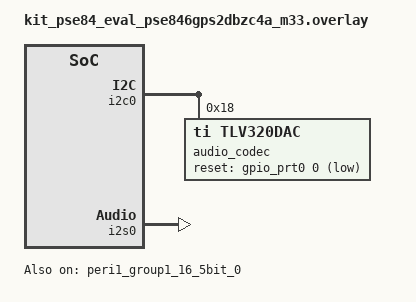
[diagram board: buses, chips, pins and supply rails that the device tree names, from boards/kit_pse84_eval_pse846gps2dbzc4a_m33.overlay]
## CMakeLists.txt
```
# SPDX-License-Identifier: Apache-2.0

cmake_minimum_required(VERSION 3.28.0)
find_package(Zephyr REQUIRED HINTS $ENV{ZEPHYR_BASE})
project(tmap_peripheral)

target_sources(app PRIVATE
  src/main.c
  src/vcp_vol_renderer.c
  src/bap_unicast_sr.c
  src/ccp_call_ctrl.c
  src/mcp_ctlr.c
)

add_subdirectory(${ZEPHYR_BASE}/samples/bluetooth/audio/common
                 ${CMAKE_BINARY_DIR}/bt_audio_common)

target_sources_ifdef(CONFIG_TMAP_PERIPHERAL_DUO app PRIVATE
  src/csip_set_member.c
)

zephyr_library_include_directories(${ZEPHYR_BASE}/samples/bluetooth)
```

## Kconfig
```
#
# Copyright (c) 2022 Codecoup
# Copyright 2023 NXP
#
# SPDX-License-Identifier: Apache-2.0
#

mainmenu "Bluetooth: Earbuds"

menu "Zephyr"
source "Kconfig.zephyr"
endmenu

menu "Earbuds"

config TMAP_PERIPHERAL_SET_RANK
	int "Device rank in set"
	depends on TMAP_PERIPHERAL_DUO
	range 1 2
	help
	  Rank of this device in set.

choice TMAP_PERIPHERAL_TYPE_CHOICE
	prompt "Earbuds type"
	help
	  Select the Earbuds Type to compile.

config TMAP_PERIPHERAL_SINGLE
	bool "Single ear headset"

config TMAP_PERIPHERAL_DUO
	depends on BT_CAP_ACCEPTOR_SET_MEMBER
	bool "Duo headset"

endchoice # TMAP_PERIPHERAL_TYPE_CHOICE

choice TMAP_PERIPHERAL_LOCATION
	prompt "Earbud Location"
	help
	  Select the Earbud location.

config TMAP_PERIPHERAL_LEFT
	bool "Left Ear"

config TMAP_PERIPHERAL_RIGHT
	bool "Right Ear"

config TMAP_PERIPHERAL_STEREO
	bool "Stereo speaker (front left + front right)"
	help
	  Advertise the sink and source PAC locations as a stereo speaker.
	  Required by some phones (e.g. Pixel running Android) before they
	  will route stereo media to a solo LE Audio device.

endchoice # TMAP_PERIPHERAL_LOCATION

config TMAP_PERIPHERAL_ROLE_CT
	bool "TMAP Call Terminal (CT) role"
	default y
	help
	  Advertise the TMAP Call Terminal role. Compiles in and
	  initializes the CCP client used to interact with a peer Call
	  Gateway (typically a phone). Disable to build a media-only
	  peripheral that does not participate in call control.

config TMAP_PERIPHERAL_ROLE_UMR
	bool "TMAP Unicast Media Receiver (UMR) role"
	default y
	help
	  Advertise the TMAP Unicast Media Receiver role. Compiles in and
	  initializes the MCP client on top of the BAP unicast sink to
	  interact with a peer Unicast Media Sender. Disabling drops the MCP
	  client and stops advertising the UMR role; the BAP unicast sink is
	  always built, so the peripheral still accepts a sink stream and plays
	  received media but no longer drives media control.

rsource "../common/Kconfig"

endmenu
```

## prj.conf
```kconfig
CONFIG_BT=y
CONFIG_LOG=y
CONFIG_BT_PERIPHERAL=y
CONFIG_BT_GAP_AUTO_UPDATE_CONN_PARAMS=n
# Set preferred values based on BT_BAP_CONN_PARAM_RELAXED
CONFIG_BT_PERIPHERAL_PREF_MIN_INT=50
CONFIG_BT_PERIPHERAL_PREF_MAX_INT=70
CONFIG_BT_PERIPHERAL_PREF_LATENCY=0
CONFIG_BT_PERIPHERAL_PREF_TIMEOUT=400
CONFIG_BT_ISO_PERIPHERAL=y
CONFIG_BT_GATT_CLIENT=y
CONFIG_BT_GATT_AUTO_DISCOVER_CCC=y
CONFIG_BT_PRIVACY=y
CONFIG_BT_AUDIO=y
CONFIG_UTF8=y

CONFIG_BT_SMP=y
CONFIG_BT_KEYS_OVERWRITE_OLDEST=y
CONFIG_BT_ATT_TX_COUNT=20

# TMAP support
CONFIG_BT_TMAP=y

# CAP
CONFIG_BT_CAP_ACCEPTOR=y

# BAP support
CONFIG_BT_BAP_UNICAST_SERVER=y
# Mandatory to support at least 1 for ASCS
CONFIG_BT_ATT_PREPARE_COUNT=1

# VCP support
CONFIG_BT_VCP_VOL_REND=y

# MCP support
CONFIG_BT_MCC=y

# Support an ISO channel per ASE
CONFIG_BT_ASCS=y
CONFIG_BT_PAC_SNK=y
CONFIG_BT_ASCS_MAX_ASE_SNK_COUNT=1
CONFIG_BT_PAC_SRC=y
CONFIG_BT_ASCS_MAX_ASE_SRC_COUNT=1
# Support an ISO channel per ASE
CONFIG_BT_ISO_MAX_CHAN=2

# Sink PAC Location Support
CONFIG_BT_PAC_SNK_LOC=y
# Source PAC Location Support
CONFIG_BT_PAC_SRC_LOC=y

# CCP Call Control Client Support
CONFIG_BT_TBS_CLIENT_GTBS=y
CONFIG_BT_TBS_CLIENT_ORIGINATE_CALL=y
CONFIG_BT_TBS_CLIENT_TERMINATE_CALL=y
CONFIG_BT_TBS_CLIENT_BEARER_URI_SCHEMES_SUPPORTED_LIST=y

# Generic config
CONFIG_BT_GATT_DYNAMIC_DB=y
CONFIG_BT_GATT_CLIENT=y
CONFIG_BT_EXT_ADV=y
CONFIG_BT_DEVICE_NAME="TMAP Peripheral"

# Receiving the LE Audio unicast stream (LC3 SDUs at 100 Hz / 10 ms) plus CIS
# open/close needs more ISO RX headroom than the Kconfig default; otherwise the
# H:4 driver keeps deferring packets to bt_rx_thread ("Failed to allocate,
# deferring to rx_thread"). This sizes the RX audio path, so it only matters for
# the LE Audio (LC3) sink use case this sample targets.
CONFIG_BT_ISO_RX_BUF_COUNT=12
CONFIG_BT_ISO_RX_MTU=310

# The ASE codec configuration metadata buffer must hold what real-world sources
# (e.g. Android LE Audio) send: streaming context + CCID list, which the stack
# default of 4 rejects with -ENOMEM. The codec capability metadata is our own
# (preferred contexts only) and fits the default.
CONFIG_BT_AUDIO_CODEC_CFG_MAX_METADATA_SIZE=32
```

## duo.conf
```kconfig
CONFIG_BT_CSIP_SET_MEMBER=y
CONFIG_BT_CSIP_SET_MEMBER_SIZE_SUPPORT=y
CONFIG_BT_CSIP_SET_MEMBER_LOCK_SUPPORT=y
CONFIG_BT_CSIP_SET_MEMBER_RANK_SUPPORT=y
CONFIG_TMAP_PERIPHERAL_DUO=y
CONFIG_BT_CAP_ACCEPTOR_SET_MEMBER=y
CONFIG_BT_GATT_DYNAMIC_DB=y
```

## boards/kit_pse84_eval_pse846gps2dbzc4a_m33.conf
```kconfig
# SPDX-FileCopyrightText: Copyright (c) 2026 Infineon Technologies AG,
# SPDX-FileCopyrightText: or an affiliate of Infineon Technologies AG. All rights reserved.
#
# SPDX-License-Identifier: Apache-2.0

CONFIG_LIBLC3=y
CONFIG_I2S=y
CONFIG_AUDIO=y
CONFIG_AUDIO_CODEC=y

CONFIG_SAMPLE_BT_AUDIO_PLAYBACK_MCLK_FREQUENCY=12288000
CONFIG_SAMPLE_BT_AUDIO_PLAYBACK_CODEC_VOL_MIN=-127
CONFIG_SAMPLE_BT_AUDIO_PLAYBACK_CODEC_VOL_MAX=0

CONFIG_TMAP_PERIPHERAL_STEREO=y
CONFIG_TMAP_PERIPHERAL_ROLE_CT=n
CONFIG_TMAP_PERIPHERAL_AUTO_CTRL=n
CONFIG_BT_RX_STACK_SIZE=4096
```

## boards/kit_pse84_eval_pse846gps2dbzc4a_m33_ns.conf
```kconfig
# SPDX-FileCopyrightText: Copyright (c) 2026 Infineon Technologies AG,
# SPDX-FileCopyrightText: or an affiliate of Infineon Technologies AG. All rights reserved.
#
# SPDX-License-Identifier: Apache-2.0

CONFIG_SPEED_OPTIMIZATIONS=y
CONFIG_LIBLC3=y
CONFIG_I2S=y
CONFIG_AUDIO=y
CONFIG_AUDIO_CODEC=y

CONFIG_SAMPLE_BT_AUDIO_PLAYBACK_MCLK_FREQUENCY=12288000
CONFIG_SAMPLE_BT_AUDIO_PLAYBACK_CODEC_VOL_MIN=-127
CONFIG_SAMPLE_BT_AUDIO_PLAYBACK_CODEC_VOL_MAX=0

CONFIG_TMAP_PERIPHERAL_STEREO=y
CONFIG_TMAP_PERIPHERAL_ROLE_CT=n
CONFIG_TMAP_PERIPHERAL_AUTO_CTRL=n
CONFIG_BT_ISO_RX_MTU=310
CONFIG_BT_RX_STACK_SIZE=4096
```

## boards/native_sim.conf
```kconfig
CONFIG_LOG_MODE_IMMEDIATE=y

CONFIG_LIBLC3=y
CONFIG_FPU=y

# For LE-audio at 10ms intervals we need the tick counter to occur more frequently
# than every 10 ms as each PDU for some reason takes 2 ticks to process.
CONFIG_SYS_CLOCK_TICKS_PER_SEC=1000
CONFIG_NATIVE_SIM_SLOWDOWN_TO_REAL_TIME=y
```

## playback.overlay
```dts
/*
 * SPDX-FileCopyrightText: Copyright The Zephyr Project Contributors
 * SPDX-License-Identifier: Apache-2.0
 *
 * Build-only wiring for native_sim: point the i2s-codec-tx alias at the
 * board's emulated I2S TX controller so the real LC3 -> I2S playback path in
 * common/audio_playback.c is compile-checked by CI. This scenario is build_only,
 * so CI builds the playback path but does not execute it. native_sim already
 * provides the audio_codec (zephyr,dummy-codec) node the helper looks up by label.
 */

/ {
	aliases {
		i2s-codec-tx = &i2s_tx0;
	};
};
```

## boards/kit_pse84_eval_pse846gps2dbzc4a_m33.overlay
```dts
/*
 * SPDX-FileCopyrightText: Copyright (c) 2026 Infineon Technologies AG,
 * SPDX-FileCopyrightText: or an affiliate of Infineon Technologies AG. All rights reserved.
 *
 * SPDX-License-Identifier: Apache-2.0
 */

/ {
	aliases {
		i2s-codec-tx = &i2s0;
	};
};

&i2c0 {
	audio_codec: codec@18 {
		compatible = "ti,tlv320dac";
		reg = <0x18>;
		reset-gpios = <&gpio_prt0 0 GPIO_ACTIVE_LOW>;
		speaker-gain = <6>;
	};
};

&peri1_group1_16_5bit_0 {
	clock-div = <2>;
	div-frac-value = <0>;
	status = "okay";
};

&dma0 {
	interrupts = <82 2>, <83 4>, <84 4>, <85 4>,
		     <86 4>, <87 4>, <88 4>, <89 4>,
		     <90 4>, <91 4>, <92 4>, <93 4>,
		     <94 4>, <95 4>, <96 4>, <97 4>;
	status = "okay";
};

&i2s0 {
	interrupts = <158 4>, <159 2>;
	pinctrl-0 = <&p21_3_tdm_i2s0_tx_mck &p21_2_tdm_i2s0_tx_sck
		     &p21_1_tdm_i2s0_tx_sd &p12_3_tdm_i2s0_tx_fsync>;
	pinctrl-names = "default";
	dmas = <&dma0 0>, <&dma0 1>;
	dma-names = "tx", "rx";
	clocks = <&peri1_group1_16_5bit_0>;
	status = "okay";
};

&p12_3_tdm_i2s0_tx_fsync {
	drive-push-pull;
	drive-strength = "half";
};

&p21_1_tdm_i2s0_tx_sd {
	drive-push-pull;
	drive-strength = "half";
};

&p21_2_tdm_i2s0_tx_sck {
	drive-push-pull;
	drive-strength = "half";
};

&p21_3_tdm_i2s0_tx_mck {
	drive-push-pull;
	drive-strength = "half";
};

&bt_hci_uart {
	cyw55513 {
		hci-operation-speed = <3000000>;
	};
};
```

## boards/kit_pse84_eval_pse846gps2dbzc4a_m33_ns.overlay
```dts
/*
 * SPDX-FileCopyrightText: Copyright (c) 2026 Infineon Technologies AG,
 * SPDX-FileCopyrightText: or an affiliate of Infineon Technologies AG. All rights reserved.
 *
 * SPDX-License-Identifier: Apache-2.0
 */

/ {
	aliases {
		i2s-codec-tx = &i2s0;
	};
};

&i2c0 {
	audio_codec: codec@18 {
		compatible = "ti,tlv320dac";
		reg = <0x18>;
		reset-gpios = <&gpio_prt8 2 GPIO_ACTIVE_HIGH>;
		speaker-gain = <6>;
	};
};

&peri1_group1_16_5bit_0 {
	clock-div = <2>;
	div-frac-value = <0>;
	status = "okay";
};

&dma0 {
	interrupts = <82 2>, <83 4>, <84 4>, <85 4>,
		     <86 4>, <87 4>, <88 4>, <89 4>,
		     <90 4>, <91 4>, <92 4>, <93 4>,
		     <94 4>, <95 4>, <96 4>, <97 4>;
	status = "okay";
};

&i2s0 {
	interrupts = <158 4>, <159 2>;
	pinctrl-0 = <&p21_3_tdm_i2s0_tx_mck &p21_2_tdm_i2s0_tx_sck
		     &p21_1_tdm_i2s0_tx_sd &p12_3_tdm_i2s0_tx_fsync>;
	pinctrl-names = "default";
	dmas = <&dma0 0>, <&dma0 1>;
	dma-names = "tx", "rx";
	clocks = <&peri1_group1_16_5bit_0>;
	status = "okay";
};

&p12_3_tdm_i2s0_tx_fsync {
	drive-push-pull;
	drive-strength = "half";
};

&p21_1_tdm_i2s0_tx_sd {
	drive-push-pull;
	drive-strength = "half";
};

&p21_2_tdm_i2s0_tx_sck {
	drive-push-pull;
	drive-strength = "half";
};

&p21_3_tdm_i2s0_tx_mck {
	drive-push-pull;
	drive-strength = "half";
};

&bt_hci_uart {
	cyw55513 {
		hci-operation-speed = <3000000>;
	};
};
```

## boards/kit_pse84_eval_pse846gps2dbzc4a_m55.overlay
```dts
/*
 * SPDX-FileCopyrightText: Copyright (c) 2026 Infineon Technologies AG,
 * SPDX-FileCopyrightText: or an affiliate of Infineon Technologies AG. All rights reserved.
 *
 * SPDX-License-Identifier: Apache-2.0
 */

/ {
	aliases {
		i2s-codec-tx = &i2s0;
	};
};

&i2c0 {
	audio_codec: codec@18 {
		compatible = "ti,tlv320dac";
		reg = <0x18>;
		reset-gpios = <&gpio_prt8 2 GPIO_ACTIVE_HIGH>;
		speaker-gain = <6>;
	};
};

&peri1_group1_16_5bit_0 {
	clock-div = <2>;
	div-frac-value = <0>;
	status = "okay";
};

&dma0 {
	interrupts = <60 2>, <61 4>, <62 4>, <63 4>,
		     <64 4>, <65 4>, <66 4>, <67 4>,
		     <68 4>, <69 4>, <70 4>, <71 4>,
		     <72 4>, <73 4>, <74 4>, <75 4>;
	status = "okay";
};

&i2s0 {
	interrupts = <135 4>, <136 2>;
	pinctrl-0 = <&p21_3_tdm_i2s0_tx_mck &p21_2_tdm_i2s0_tx_sck
		     &p21_1_tdm_i2s0_tx_sd &p12_3_tdm_i2s0_tx_fsync>;
	pinctrl-names = "default";
	dmas = <&dma0 0>, <&dma0 1>;
	dma-names = "tx", "rx";
	clocks = <&peri1_group1_16_5bit_0>;
	status = "okay";
};

&p12_3_tdm_i2s0_tx_fsync {
	drive-push-pull;
	drive-strength = "half";
};

&p21_1_tdm_i2s0_tx_sd {
	drive-push-pull;
	drive-strength = "half";
};

&p21_2_tdm_i2s0_tx_sck {
	drive-push-pull;
	drive-strength = "half";
};

&p21_3_tdm_i2s0_tx_mck {
	drive-push-pull;
	drive-strength = "half";
};

&bt_hci_uart {
	cyw55513 {
		hci-operation-speed = <3000000>;
	};
};
```

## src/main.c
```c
/*
 * Copyright 2023 NXP
 * Copyright (c) 2024 Nordic Semiconductor ASA
 *
 * SPDX-License-Identifier: Apache-2.0
 */

#include <stdbool.h>
#include <stddef.h>
#include <stdint.h>

#include <zephyr/autoconf.h>
#include <zephyr/bluetooth/addr.h>
#include <zephyr/bluetooth/assigned_numbers.h>
#include <zephyr/bluetooth/audio/audio.h>
#include <zephyr/bluetooth/audio/bap.h>
#include <zephyr/bluetooth/audio/bap_lc3_preset.h>
#include <zephyr/bluetooth/audio/csip.h>
#include <zephyr/bluetooth/audio/tmap.h>
#include <zephyr/bluetooth/audio/cap.h>
#include <zephyr/bluetooth/audio/mcs.h>
#include <zephyr/bluetooth/bluetooth.h>
#include <zephyr/bluetooth/byteorder.h>
#include <zephyr/bluetooth/conn.h>
#include <zephyr/bluetooth/gap.h>
#include <zephyr/bluetooth/hci.h>
#include <zephyr/bluetooth/uuid.h>
#include <zephyr/kernel.h>
#include <zephyr/sys/__assert.h>
#include <zephyr/sys/byteorder.h>
#include <zephyr/sys/printk.h>
#include <zephyr/sys/util.h>
#include <zephyr/sys/util_macro.h>
#include <zephyr/toolchain.h>
#include <zephyr/types.h>

#include <audio_playback.h>
#include "tmap_peripheral.h"

/* Advertised and registered TMAP role mask derived from Kconfig. */
#define TMAP_PERIPHERAL_ROLE_MASK ( \
	(IS_ENABLED(CONFIG_TMAP_PERIPHERAL_ROLE_CT)  ? BT_TMAP_ROLE_CT  : 0) | \
	(IS_ENABLED(CONFIG_TMAP_PERIPHERAL_ROLE_UMR) ? BT_TMAP_ROLE_UMR : 0))

BUILD_ASSERT(TMAP_PERIPHERAL_ROLE_MASK != 0,
	     "At least one of CONFIG_TMAP_PERIPHERAL_ROLE_CT / _ROLE_UMR must be set");

static struct bt_conn *default_conn;
static struct k_work_delayable call_terminate_set_work;
static struct k_work_delayable media_pause_set_work;

static uint8_t unicast_server_addata[] = {
	BT_UUID_16_ENCODE(BT_UUID_ASCS_VAL),    /* ASCS UUID */
	BT_AUDIO_UNICAST_ANNOUNCEMENT_TARGETED, /* Target Announcement */
	BT_BYTES_LIST_LE16(AVAILABLE_SINK_CONTEXT),
	BT_BYTES_LIST_LE16(AVAILABLE_SOURCE_CONTEXT),
	0x00U, /* Metadata length */
};

static const uint8_t cap_addata[] = {
	BT_UUID_16_ENCODE(BT_UUID_CAS_VAL),
	BT_AUDIO_UNICAST_ANNOUNCEMENT_TARGETED,
};

static uint8_t tmap_addata[] = {
	BT_UUID_16_ENCODE(BT_UUID_TMAS_VAL),                    /* TMAS UUID */
	BT_BYTES_LIST_LE16(TMAP_PERIPHERAL_ROLE_MASK),          /* TMAP Role */
};

static uint8_t csis_rsi_addata[BT_CSIP_RSI_SIZE];
static bool peer_is_cg;
static bool peer_is_ums;

static const struct bt_data ad[] = {
	BT_DATA_BYTES(BT_DATA_FLAGS, (BT_LE_AD_GENERAL | BT_LE_AD_NO_BREDR)),
	BT_DATA_BYTES(BT_DATA_GAP_APPEARANCE,
		      BT_BYTES_LIST_LE16(BT_APPEARANCE_WEARABLE_AUDIO_DEVICE_EARBUD)),
	BT_DATA_BYTES(BT_DATA_UUID16_SOME, BT_UUID_16_ENCODE(BT_UUID_ASCS_VAL),
		      BT_UUID_16_ENCODE(BT_UUID_CAS_VAL), BT_UUID_16_ENCODE(BT_UUID_TMAS_VAL)),
#if defined(CONFIG_BT_CSIP_SET_MEMBER)
	BT_DATA(BT_DATA_CSIS_RSI, csis_rsi_addata, ARRAY_SIZE(csis_rsi_addata)),
#endif /* CONFIG_BT_CSIP_SET_MEMBER */
	BT_DATA(BT_DATA_SVC_DATA16, tmap_addata, ARRAY_SIZE(tmap_addata)),
	BT_DATA(BT_DATA_SVC_DATA16, cap_addata, ARRAY_SIZE(cap_addata)),
	BT_DATA(BT_DATA_SVC_DATA16, unicast_server_addata, ARRAY_SIZE(unicast_server_addata)),
	BT_DATA(BT_DATA_NAME_COMPLETE, CONFIG_BT_DEVICE_NAME, sizeof(CONFIG_BT_DEVICE_NAME) - 1),
};

static K_SEM_DEFINE(sem_connected, 0U, 1U);
static K_SEM_DEFINE(sem_security_updated, 0U, 1U);
static K_SEM_DEFINE(sem_disconnected, 0U, 1U);
static K_SEM_DEFINE(sem_discovery_done, 0U, 1U);

void tmap_discovery_complete(enum bt_tmap_role peer_role, struct bt_conn *conn, int err)
{
	if (conn != default_conn) {
		return;
	}

	if (err != 0) {
		printk("TMAS discovery failed! (err %d)\n", err);
		return;
	}

	peer_is_cg = (peer_role & BT_TMAP_ROLE_CG) != 0;
	peer_is_ums = (peer_role & BT_TMAP_ROLE_UMS) != 0;
	printk("TMAP discovery done\n");
	k_sem_give(&sem_discovery_done);
}

static struct bt_tmap_cb tmap_callbacks = {
	.discovery_complete = tmap_discovery_complete
};

static void connected(struct bt_conn *conn, uint8_t err)
{
	if (err != 0) {
		printk("Failed to connect to %s %u %s\n", bt_conn_dst_str(conn),
		       err, bt_hci_err_to_str(err));

		default_conn = NULL;
		return;
	}

	printk("Connected: %s\n", bt_conn_dst_str(conn));
	default_conn = bt_conn_ref(conn);
	k_sem_give(&sem_connected);
}

static void disconnected(struct bt_conn *conn, uint8_t reason)
{
	if (conn != default_conn) {
		return;
	}

	printk("Disconnected: %s, reason 0x%02x %s\n", bt_conn_dst_str(conn),
	       reason, bt_hci_err_to_str(reason));

	bt_conn_drop(&default_conn);

	k_sem_give(&sem_disconnected);
}

static void security_changed(struct bt_conn *conn, bt_security_t level,
			     enum bt_security_err err)
{
	ARG_UNUSED(conn);
	ARG_UNUSED(level);

	if (err == 0) {
		printk("Security changed: %u\n", err);
		k_sem_give(&sem_security_updated);
	} else {
		printk("Failed to set security level: %s(%u)", bt_security_err_to_str(err), err);
	}
}

BT_CONN_CB_DEFINE(conn_callbacks) = {
	.connected = connected,
	.disconnected = disconnected,
	.security_changed = security_changed,
};

#if defined(CONFIG_BT_PRIVACY) && defined(CONFIG_BT_CSIP_SET_MEMBER)
static bool adv_rpa_expired_cb(struct bt_le_ext_adv *adv)
{
	char rsi_str[13];
	int err;

	err = csip_generate_rsi(csis_rsi_addata);
	if (err != 0) {
		printk("Failed to generate RSI (err %d)\n", err);
		return false;
	}

	snprintk(rsi_str, ARRAY_SIZE(rsi_str), "%02x%02x%02x%02x%02x%02x",
		 csis_rsi_addata[0], csis_rsi_addata[1], csis_rsi_addata[2],
		 csis_rsi_addata[3], csis_rsi_addata[4], csis_rsi_addata[5]);

	printk("PRSI: 0x%s\n", rsi_str);

	err = bt_le_ext_adv_set_data(adv, ad, ARRAY_SIZE(ad), NULL, 0);
	if (err != 0) {
		printk("Failed to set advertising data (err %d)\n", err);
		return false;
	}

	return true;
}
#endif /* CONFIG_BT_PRIVACY && CONFIG_BT_CSIP_SET_MEMBER */

static const struct bt_le_ext_adv_cb adv_cb = {
#if defined(CONFIG_BT_PRIVACY) && defined(CONFIG_BT_CSIP_SET_MEMBER)
	.rpa_expired = adv_rpa_expired_cb,
#endif /* CONFIG_BT_PRIVACY && CONFIG_BT_CSIP_SET_MEMBER */
};

static void audio_timer_timeout(struct k_work *work)
{
	int err = ccp_terminate_call();

	ARG_UNUSED(work);

	if (err != 0) {
		printk("Error sending call terminate command!\n");
	}
}

static void media_play_timeout(struct k_work *work)
{
	int err = mcp_send_cmd(BT_MCS_OPC_PAUSE);

	ARG_UNUSED(work);

	if (err != 0) {
		printk("Error sending pause command!\n");
	}
}

int main(void)
{
	int err;
	struct bt_le_ext_adv *adv;

	err = bt_enable(NULL);
	if (err != 0) {
		printk("Bluetooth init failed (err %d)\n", err);
		return err;
	}

	printk("Bluetooth initialized\n");

	if (IS_ENABLED(CONFIG_TMAP_PERIPHERAL_ROLE_CT)) {
		k_work_init_delayable(&call_terminate_set_work, audio_timer_timeout);
	}
	if (IS_ENABLED(CONFIG_TMAP_PERIPHERAL_ROLE_UMR)) {
		k_work_init_delayable(&media_pause_set_work, media_play_timeout);
	}

	printk("Initializing TMAP and setting role\n");
	err = bt_tmap_register(TMAP_PERIPHERAL_ROLE_MASK);
	if (err != 0) {
		return err;
	}

	if (IS_ENABLED(CONFIG_TMAP_PERIPHERAL_DUO)) {
		err = csip_set_member_init();
		if (err != 0) {
			printk("CSIP Set Member init failed (err %d)\n", err);
			return err;
		}

		err = csip_generate_rsi(csis_rsi_addata);
		if (err != 0) {
			printk("Failed to generate RSI (err %d)\n", err);
			return err;
		}
	}

	err = vcp_vol_renderer_init();
	if (err != 0) {
		return err;
	}
	printk("VCP initialized\n");

	err = bap_unicast_sr_init();
	if (err != 0) {
		return err;
	}
	printk("BAP initialized\n");

	if (IS_ENABLED(CONFIG_SAMPLE_BT_AUDIO_PLAYBACK)) {
		err = sample_bt_audio_playback_init();
		if (err != 0) {
			printk("LE Audio playback init failed (err %d)\n", err);
			return err;
		}
		printk("LE Audio playback initialized\n");
	}

	err = bt_le_ext_adv_create(BT_BAP_ADV_PARAM_CONN_QUICK, &adv_cb, &adv);
	if (err != 0) {
		printk("Failed to create advertising set (err %d)\n", err);
		return err;
	}

	err = bt_le_ext_adv_set_data(adv, ad, ARRAY_SIZE(ad), NULL, 0);
	if (err != 0) {
		printk("Failed to set advertising data (err %d)\n", err);
		return err;
	}

	err = bt_le_ext_adv_start(adv, BT_LE_EXT_ADV_START_DEFAULT);
	if (err != 0) {
		printk("Failed to start advertising set (err %d)\n", err);
		return err;
	}

	printk("Advertising successfully started\n");
	err = k_sem_take(&sem_connected, K_FOREVER);
	__ASSERT_NO_MSG(err == 0);

	err = k_sem_take(&sem_security_updated, K_FOREVER);
	__ASSERT_NO_MSG(err == 0);

	err = bt_tmap_discover(default_conn, &tmap_callbacks);
	if (err != 0) {
		return err;
	}

	err = k_sem_take(&sem_discovery_done, K_FOREVER);
	__ASSERT_NO_MSG(err == 0);

	if (IS_ENABLED(CONFIG_TMAP_PERIPHERAL_ROLE_CT)) {
		err = ccp_call_ctrl_init(default_conn);
		if (err != 0) {
			return err;
		}
		printk("CCP initialized\n");
	}

	if (IS_ENABLED(CONFIG_TMAP_PERIPHERAL_ROLE_UMR)) {
		err = mcp_ctlr_init(default_conn);
		if (err != 0) {
			return err;
		}
		printk("MCP initialized\n");
	}

	if (IS_ENABLED(CONFIG_TMAP_PERIPHERAL_ROLE_CT) &&
	    IS_ENABLED(CONFIG_TMAP_PERIPHERAL_AUTO_CTRL) && peer_is_cg) {
		/* Initiate a call with CCP */
		err = ccp_originate_call();
		if (err != 0) {
			printk("Error sending call originate command!\n");
		}
		/* Start timer to send terminate call command */
		k_work_schedule(&call_terminate_set_work, K_MSEC(2000));
	}

	if (IS_ENABLED(CONFIG_TMAP_PERIPHERAL_ROLE_UMR) &&
	    IS_ENABLED(CONFIG_TMAP_PERIPHERAL_AUTO_CTRL) && peer_is_ums) {
		/* Play media with MCP */
		err = mcp_send_cmd(BT_MCS_OPC_PLAY);
		if (err != 0) {
			printk("Error sending media play command!\n");
		}

		/* Start timer to send media pause command */
		k_work_schedule(&media_pause_set_work, K_MSEC(2000));

		err = k_sem_take(&sem_disconnected, K_FOREVER);
		if (err != 0) {
			printk("failed to take sem_disconnected (err %d)\n", err);
		}
	}

	return 0;
}
```

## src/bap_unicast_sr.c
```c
/** @file
 *  @brief Bluetooth Basic Audio Profile (BAP) Unicast Server role.
 *
 *  Copyright (c) 2021-2024 Nordic Semiconductor ASA
 *  Copyright (c) 2022 Codecoup
 *  Copyright (c) 2023 NXP
 *
 *  SPDX-License-Identifier: Apache-2.0
 */

#include <errno.h>
#include <stdbool.h>
#include <stddef.h>
#include <stdint.h>
#include <string.h>

#include <zephyr/autoconf.h>
#include <zephyr/bluetooth/assigned_numbers.h>
#include <zephyr/bluetooth/audio/ascs.h>
#include <zephyr/bluetooth/audio/audio.h>
#include <zephyr/bluetooth/audio/bap_lc3_preset.h>
#include <zephyr/bluetooth/audio/bap.h>
#include <zephyr/bluetooth/audio/lc3.h>
#include <zephyr/bluetooth/audio/pacs.h>
#include <zephyr/bluetooth/audio/tbs.h>
#include <zephyr/bluetooth/bluetooth.h>
#include <zephyr/bluetooth/conn.h>
#include <zephyr/bluetooth/gap.h>
#include <zephyr/bluetooth/hci_types.h>
#include <zephyr/bluetooth/iso.h>
#include <zephyr/kernel.h>
#include <zephyr/net_buf.h>
#include <zephyr/sys/byteorder.h>
#include <zephyr/sys/printk.h>
#include <zephyr/sys/util.h>
#include <zephyr/sys/util_macro.h>
#include <zephyr/toolchain.h>

#include <audio_playback.h>
#include "tmap_peripheral.h"

/* Track the currently-configured sink stream so we can route stream_recv()
 * SDUs into the LC3 decoder / I2S playback pipeline.
 */
static struct bt_bap_stream *sink_stream;
static struct sample_bt_audio_pcm_cfg sink_pcm_cfg;

static int extract_sink_pcm_cfg(const struct bt_audio_codec_cfg *codec_cfg,
				struct sample_bt_audio_pcm_cfg *out)
{
	enum bt_audio_location alloc = 0;
	int ret;

	ret = bt_audio_codec_cfg_get_freq(codec_cfg);
	if (ret < 0) {
		return ret;
	}
	out->freq_hz = (uint32_t)bt_audio_codec_cfg_freq_to_freq_hz(ret);

	ret = bt_audio_codec_cfg_get_frame_dur(codec_cfg);
	if (ret < 0) {
		return ret;
	}
	out->frame_duration_us =
		(uint32_t)bt_audio_codec_cfg_frame_dur_to_frame_dur_us(ret);

	ret = bt_audio_codec_cfg_get_octets_per_frame(codec_cfg);
	if (ret < 0) {
		return ret;
	}
	out->octets_per_frame = (uint16_t)ret;

	ret = bt_audio_codec_cfg_get_frame_blocks_per_sdu(codec_cfg, true);
	if (ret <= 0) {
		return ret < 0 ? ret : -EBADMSG;
	}
	out->frame_blocks_per_sdu = (uint8_t)ret;

	ret = bt_audio_codec_cfg_get_chan_allocation(codec_cfg, &alloc, false);
	if (ret == -ENODATA) {
		/* No allocation LTV present: BAP defaults an absent allocation to mono. */
		alloc = BT_AUDIO_LOCATION_MONO_AUDIO;
	} else if (ret != 0) {
		return ret;
	}
	out->chan_cnt = bt_audio_get_chan_count(alloc);

	/* Reject anything outside the advertised LC3 capability (lc3_codec_cap) so ASCS
	 * responds CONF_INVALID now, instead of accepting a config the fixed-size playback
	 * pipeline would only fail to bring up asynchronously after reporting success.
	 */
	if (out->freq_hz != 16000U && out->freq_hz != 32000U && out->freq_hz != 48000U) {
		return -ENOTSUP;
	}
	if (out->frame_duration_us != 7500U && out->frame_duration_us != 10000U) {
		return -ENOTSUP;
	}
	if (out->octets_per_frame < 30U || out->octets_per_frame > 155U) {
		return -ENOTSUP;
	}
	if (out->frame_blocks_per_sdu != 1U) {
		return -ENOTSUP;
	}
	if (out->chan_cnt == 0U || out->chan_cnt > 2U) {
		return -ENOTSUP;
	}

	return 0;
}

#define SUPPORTED_FRAME_SIZE_MIN 30U
#define SUPPORTED_FRAME_SIZE_MAX 155U

static const struct bt_audio_codec_cap lc3_codec_cap = BT_AUDIO_CODEC_CAP_LC3(
	BT_AUDIO_CODEC_CAP_FREQ_16KHZ | BT_AUDIO_CODEC_CAP_FREQ_32KHZ |
		BT_AUDIO_CODEC_CAP_FREQ_48KHZ,
	BT_AUDIO_CODEC_CAP_DURATION_7_5 | BT_AUDIO_CODEC_CAP_DURATION_10,
	BT_AUDIO_CODEC_CAP_CHAN_COUNT_SUPPORT(2), SUPPORTED_FRAME_SIZE_MIN,
	SUPPORTED_FRAME_SIZE_MAX, 1u, (AVAILABLE_SINK_CONTEXT | AVAILABLE_SOURCE_CONTEXT));

static struct bt_conn *default_conn;
static struct bt_bap_stream streams[CONFIG_BT_ASCS_MAX_ASE_SNK_COUNT +
				    CONFIG_BT_ASCS_MAX_ASE_SRC_COUNT];
static struct audio_source {
	struct bt_bap_stream *stream;
	uint16_t seq_num;
} source_streams[CONFIG_BT_ASCS_MAX_ASE_SRC_COUNT];
static size_t configured_source_stream_count;

static const struct bt_bap_qos_cfg_pref qos_pref =
	BT_BAP_QOS_CFG_PREF(true, BT_GAP_LE_PHY_2M, 0x02U, 10U, 20000U, 40000U, 20000U, 40000U);

static void print_hex(const uint8_t *ptr, size_t len)
{
	while (len != 0U) {
		printk("%02x", *ptr);
		ptr++;
		len--;
	}
}

static bool print_cb(struct bt_data *data, void *user_data)
{
	const char *str = (const char *)user_data;

	printk("%s: type 0x%02x value_len %u\n", str, data->type, data->data_len);
	print_hex(data->data, data->data_len);
	printk("\n");

	return true;
}

static void print_codec_cfg(const struct bt_audio_codec_cfg *codec_cfg)
{
	printk("codec_cfg 0x%02x cid 0x%04x vid 0x%04x count %zu\n", codec_cfg->id, codec_cfg->cid,
	       codec_cfg->vid, codec_cfg->data_len);

	if (codec_cfg->id == BT_HCI_CODING_FORMAT_LC3) {
		enum bt_audio_location chan_allocation;
		int ret;

		/* LC3 uses the generic LTV format - other codecs might do as well */

		bt_audio_data_parse(codec_cfg->data, codec_cfg->data_len, print_cb, "data");

		ret = bt_audio_codec_cfg_get_freq(codec_cfg);
		if (ret > 0) {
			printk("  Frequency: %d Hz\n", bt_audio_codec_cfg_freq_to_freq_hz(ret));
		}

		ret = bt_audio_codec_cfg_get_frame_dur(codec_cfg);
		if (ret >= 0) {
			printk("  Frame Duration: %d us\n",
			       bt_audio_codec_cfg_frame_dur_to_frame_dur_us(ret));
		}

		ret = bt_audio_codec_cfg_get_chan_allocation(codec_cfg, &chan_allocation, false);
		if (ret == 0) {
			printk("  Channel allocation: 0x%x\n", chan_allocation);
		}

		printk("  Octets per frame: %d (negative means value not present)\n",
		       bt_audio_codec_cfg_get_octets_per_frame(codec_cfg));
		printk("  Frames per SDU: %d\n",
		       bt_audio_codec_cfg_get_frame_blocks_per_sdu(codec_cfg, true));
	} else {
		print_hex(codec_cfg->data, codec_cfg->data_len);
	}

	bt_audio_data_parse(codec_cfg->meta, codec_cfg->meta_len, print_cb, "meta");
}

static void print_qos(const struct bt_bap_qos_cfg *qos)
{
	printk("QoS: interval %u framing 0x%02x phy 0x%02x sdu %u "
	       "rtn %u latency %u pd %u\n",
	       qos->interval, qos->framing, qos->phy, qos->sdu,
	       qos->rtn, qos->latency, qos->pd);
}

static struct bt_bap_stream *stream_alloc(void)
{
	for (size_t i = 0U; i < ARRAY_SIZE(streams); i++) {
		struct bt_bap_stream *stream = &streams[i];

		if (!stream->conn) {
			return stream;
		}
	}

	return NULL;
}

static int lc3_config(struct bt_conn *conn, const struct bt_bap_ep *ep, enum bt_audio_dir dir,
		      const struct bt_audio_codec_cfg *codec_cfg, struct bt_bap_stream **stream,
		      struct bt_bap_qos_cfg_pref *const pref, struct bt_bap_ascs_rsp *rsp)
{
	struct sample_bt_audio_pcm_cfg tmp;
	int ext;

	printk("ASE Codec Config: conn %p ep %p dir %u\n", conn, ep, dir);

	print_codec_cfg(codec_cfg);

	*stream = stream_alloc();
	if (*stream == NULL) {
		printk("No streams available\n");
		*rsp = BT_BAP_ASCS_RSP(BT_BAP_ASCS_RSP_CODE_NO_MEM, BT_BAP_ASCS_REASON_NONE);

		return -ENOMEM;
	}

	printk("ASE Codec Config stream %p\n", *stream);

	if (IS_ENABLED(CONFIG_SAMPLE_BT_AUDIO_PLAYBACK) && dir == BT_AUDIO_DIR_SINK) {
		ext = extract_sink_pcm_cfg(codec_cfg, &tmp);

		if (ext != 0) {
			printk("Failed to extract PCM cfg from codec_cfg (err %d)\n", ext);
			*rsp = BT_BAP_ASCS_RSP(BT_BAP_ASCS_RSP_CODE_CONF_INVALID,
					       BT_BAP_ASCS_REASON_CODEC_DATA);
			return ext;
		}
		/* Commit only after a fully successful extract so a partial
		 * failure cannot leave the cached cfg half-updated.
		 */
		sink_pcm_cfg = tmp;
		sink_stream = *stream;
	}

	if (dir == BT_AUDIO_DIR_SOURCE) {
		source_streams[configured_source_stream_count].stream = *stream;
		configured_source_stream_count++;
	}

	*pref = qos_pref;

	return 0;
}

static int lc3_reconfig(struct bt_bap_stream *stream, enum bt_audio_dir dir,
			const struct bt_audio_codec_cfg *codec_cfg,
			struct bt_bap_qos_cfg_pref *const pref, struct bt_bap_ascs_rsp *rsp)
{
	struct sample_bt_audio_pcm_cfg tmp;
	int ext;

	printk("ASE Codec Reconfig: stream %p\n", stream);
	print_codec_cfg(codec_cfg);

	/* Refresh the cached PCM format so a later start uses the reconfigured
	 * frame size/rate instead of the one captured at initial lc3_config().
	 */
	if (IS_ENABLED(CONFIG_SAMPLE_BT_AUDIO_PLAYBACK) && dir == BT_AUDIO_DIR_SINK &&
	    stream == sink_stream) {
		ext = extract_sink_pcm_cfg(codec_cfg, &tmp);

		if (ext != 0) {
			printk("Failed to extract PCM cfg from codec_cfg (err %d)\n", ext);
			*rsp = BT_BAP_ASCS_RSP(BT_BAP_ASCS_RSP_CODE_CONF_INVALID,
					       BT_BAP_ASCS_REASON_CODEC_DATA);
			return ext;
		}
		/* Commit only after a fully successful extract so a partial
		 * failure cannot leave the cached cfg half-updated.
		 */
		sink_pcm_cfg = tmp;
	}

	*pref = qos_pref;

	return 0;
}

static int lc3_qos(struct bt_bap_stream *stream, const struct bt_bap_qos_cfg *qos,
		   struct bt_bap_ascs_rsp *rsp)
{
	ARG_UNUSED(rsp);

	printk("QoS: stream %p qos %p\n", stream, qos);

	print_qos(qos);

	return 0;
}

static int lc3_enable(struct bt_bap_stream *stream, const uint8_t meta[], size_t meta_len,
		      struct bt_bap_ascs_rsp *rsp)
{
	ARG_UNUSED(meta);
	ARG_UNUSED(rsp);

	printk("Enable: stream %p meta_len %zu\n", stream, meta_len);

	return 0;
}

static int lc3_start(struct bt_bap_stream *stream, struct bt_bap_ascs_rsp *rsp)
{
	ARG_UNUSED(rsp);

	printk("Start: stream %p\n", stream);

	return 0;
}

struct data_func_param {
	struct bt_bap_ascs_rsp *rsp;
	bool stream_context_present;
};

static bool data_func_cb(struct bt_data *data, void *user_data)
{
	struct data_func_param *func_param = (struct data_func_param *)user_data;

	if (!BT_AUDIO_METADATA_TYPE_IS_KNOWN(data->type)) {
		printk("Invalid metadata type %u or length %u\n", data->type, data->data_len);
		*func_param->rsp = BT_BAP_ASCS_RSP(BT_BAP_ASCS_RSP_CODE_METADATA_REJECTED,
						   data->type);

		return false;
	}

	if (data->type == BT_AUDIO_METADATA_TYPE_STREAM_CONTEXT) {
		func_param->stream_context_present = true;
	}

	if (data->type == BT_AUDIO_METADATA_TYPE_CCID_LIST) {
		/* Log unknown CCIDs but do not reject: rejecting causes Pixel's
		 * Update Metadata (which advertises its own MCS CCID) to fail
		 * mid-stream. The ASCS layer already warns about unknown CCIDs.
		 */
		for (uint8_t j = 0U; j < data->data_len; j++) {
			const uint8_t ccid = data->data[j];

			if (!(IS_ENABLED(CONFIG_BT_TBS_CLIENT_CCID) &&
			      bt_tbs_client_get_by_ccid(default_conn, ccid) != NULL)) {
				printk("CCID %u is unknown (ignored)\n", ccid);
			}
		}
	}

	return true;
}

static int lc3_metadata(struct bt_bap_stream *stream, const uint8_t meta[], size_t meta_len,
			struct bt_bap_ascs_rsp *rsp)
{
	struct data_func_param func_param = {
		.rsp = rsp,
		.stream_context_present = false,
	};
	int err;

	printk("Metadata: stream %p meta_len %zu\n", stream, meta_len);

	err = bt_audio_data_parse(meta, meta_len, data_func_cb, &func_param);
	if (err != 0) {
		return err;
	}

	if (!func_param.stream_context_present) {
		printk("Stream audio context not present on peer!");
		*rsp = BT_BAP_ASCS_RSP(BT_BAP_ASCS_RSP_CODE_METADATA_REJECTED,
				       BT_BAP_ASCS_REASON_NONE);

		return -EINVAL;
	}

	return 0;
}

static int lc3_disable(struct bt_bap_stream *stream, struct bt_bap_ascs_rsp *rsp)
{
	ARG_UNUSED(rsp);

	printk("Disable: stream %p\n", stream);

	return 0;
}

static int lc3_stop(struct bt_bap_stream *stream, struct bt_bap_ascs_rsp *rsp)
{
	ARG_UNUSED(rsp);

	printk("Stop: stream %p\n", stream);

	return 0;
}

static int lc3_release(struct bt_bap_stream *stream, struct bt_bap_ascs_rsp *rsp)
{
	ARG_UNUSED(rsp);

	printk("Release: stream %p\n", stream);

	return 0;
}

static struct bt_bap_unicast_server_register_param param = {
	CONFIG_BT_ASCS_MAX_ASE_SNK_COUNT,
	CONFIG_BT_ASCS_MAX_ASE_SRC_COUNT
};

static const struct bt_bap_unicast_server_cb unicast_server_cb = {
	.config = lc3_config,
	.reconfig = lc3_reconfig,
	.qos = lc3_qos,
	.enable = lc3_enable,
	.start = lc3_start,
	.metadata = lc3_metadata,
	.disable = lc3_disable,
	.stop = lc3_stop,
	.release = lc3_release,
};

static void stream_recv_cb(struct bt_bap_stream *stream, const struct bt_iso_recv_info *info,
			   struct net_buf *buf)
{
	if (IS_ENABLED(CONFIG_SAMPLE_BT_AUDIO_PLAYBACK) && stream == sink_stream) {
		sample_bt_audio_playback_recv(info, buf);
	}
}

static void stream_enabled_cb(struct bt_bap_stream *stream)
{
	struct bt_bap_ep_info ep_info;
	int err;

	err = bt_bap_ep_get_info(stream->ep, &ep_info);
	if (err != 0) {
		printk("Failed to get ep info: %d\n", err);
		return;
	}

	/* The unicast server is responsible for starting the sink streams */
	if (ep_info.dir == BT_AUDIO_DIR_SINK) {
		/* Defer codec/I2S bring-up to stream_ops.started so we don't
		 * block the BAP callback with WM8962 I2C traffic.
		 */
		err = bt_bap_stream_start(stream);

		if (err != 0) {
			printk("Failed to start stream %p: %d\n", stream, err);
		}
	}
}

static void stream_started_cb(struct bt_bap_stream *stream)
{
	if (IS_ENABLED(CONFIG_SAMPLE_BT_AUDIO_PLAYBACK) && stream == sink_stream) {
		int pret = sample_bt_audio_playback_start(&sink_pcm_cfg);

		if (pret != 0 && pret != -EALREADY) {
			printk("sample_bt_audio_playback_start submit failed: %d\n", pret);
		}
	}
}

/* Playback is stopped only here: stopped fires whenever the sink stream leaves the
 * streaming state, whether by disable, stop, release or ACL disconnect.
 */
static void stream_stopped_cb(struct bt_bap_stream *stream, uint8_t reason)
{
	ARG_UNUSED(reason);
	if (IS_ENABLED(CONFIG_SAMPLE_BT_AUDIO_PLAYBACK) && stream == sink_stream) {
		sample_bt_audio_playback_stop();
	}
}

/* Runs after stopped, also on ACL disconnect, so the stream is forgotten only once idle. */
static void stream_released_cb(struct bt_bap_stream *stream)
{
	if (stream == sink_stream) {
		sink_stream = NULL;
	}
}

static struct bt_bap_stream_ops stream_ops = {
	.enabled    = stream_enabled_cb,
	.started    = stream_started_cb,
	.stopped    = stream_stopped_cb,
	.released   = stream_released_cb,
	.recv       = stream_recv_cb,
};

static void connected(struct bt_conn *conn, uint8_t err)
{
	ARG_UNUSED(err);

	default_conn = bt_conn_ref(conn);
}

static void disconnected(struct bt_conn *conn, uint8_t reason)
{
	ARG_UNUSED(reason);

	if (conn != default_conn) {
		return;
	}

	bt_conn_drop(&default_conn);

	if (IS_ENABLED(CONFIG_BT_ASCS_ASE_SRC)) {
		/* reset data */
		(void)memset(source_streams, 0, sizeof(source_streams));
		configured_source_stream_count = 0U;
	}
}

BT_CONN_CB_DEFINE(conn_callbacks) = {
	.connected = connected,
	.disconnected = disconnected,
};

static struct bt_pacs_cap cap = {
	.codec_cap = &lc3_codec_cap,
};


int bap_unicast_sr_init(void)
{
	const struct bt_pacs_register_param pacs_param = {
		.snk_pac = true,
		.snk_loc = true,
		.src_pac = true,
		.src_loc = true,
	};
	int err;

	err = bt_pacs_register(&pacs_param);
	if (err != 0) {
		printk("Could not register PACS (err %d)\n", err);
		return err;
	}

	err = bt_bap_unicast_server_register(&param);
	if (err != 0) {
		printk("Could not register unicast server (err %d)\n", err);
		return err;
	}

	err = bt_bap_unicast_server_register_cb(&unicast_server_cb);
	if (err != 0) {
		printk("Could not register unicast server callbacks (err %d)\n", err);
		return err;
	}

	if (IS_ENABLED(CONFIG_BT_PAC_SNK)) {
		/* Register CT required capabilities */
		err = bt_pacs_cap_register(BT_AUDIO_DIR_SINK, &cap);
		if (err != 0) {
			printk("Could not register sink capability (err %d)\n", err);
			return err;
		}

		if (IS_ENABLED(CONFIG_TMAP_PERIPHERAL_STEREO)) {
			err = bt_pacs_set_location(BT_AUDIO_DIR_SINK,
						   BT_AUDIO_LOCATION_FRONT_LEFT |
						   BT_AUDIO_LOCATION_FRONT_RIGHT);
		} else if (IS_ENABLED(CONFIG_TMAP_PERIPHERAL_LEFT)) {
			err = bt_pacs_set_location(BT_AUDIO_DIR_SINK,
						       BT_AUDIO_LOCATION_FRONT_LEFT);
		} else {
			err = bt_pacs_set_location(BT_AUDIO_DIR_SINK,
						       BT_AUDIO_LOCATION_FRONT_RIGHT);
		}
		if (err != 0) {
			printk("Could not set sink location (err %d)\n", err);
			return err;
		}

		err = bt_pacs_set_supported_contexts(BT_AUDIO_DIR_SINK,
						     AVAILABLE_SINK_CONTEXT);
		if (err != 0) {
			printk("Could not set sink supported contexts (err %d)\n", err);
			return err;
		}

		err = bt_pacs_set_available_contexts(BT_AUDIO_DIR_SINK,
						     AVAILABLE_SINK_CONTEXT);
		if (err != 0) {
			printk("Could not set sink available contexts (err %d)\n", err);
			return err;
		}
	}

	if (IS_ENABLED(CONFIG_BT_PAC_SRC)) {
		/* Register CT required capabilities */
		err = bt_pacs_cap_register(BT_AUDIO_DIR_SOURCE, &cap);
		if (err != 0) {
			printk("Could not register source capability (err %d)\n", err);
			return err;
		}

		if (IS_ENABLED(CONFIG_TMAP_PERIPHERAL_STEREO)) {
			err = bt_pacs_set_location(BT_AUDIO_DIR_SOURCE,
						   BT_AUDIO_LOCATION_FRONT_LEFT |
						   BT_AUDIO_LOCATION_FRONT_RIGHT);
		} else if (IS_ENABLED(CONFIG_TMAP_PERIPHERAL_LEFT)) {
			err = bt_pacs_set_location(BT_AUDIO_DIR_SOURCE,
						       BT_AUDIO_LOCATION_FRONT_LEFT);
		} else {
			err = bt_pacs_set_location(BT_AUDIO_DIR_SOURCE,
						       BT_AUDIO_LOCATION_FRONT_RIGHT);
		}
		if (err != 0) {
			printk("Could not set source location (err %d)\n", err);
			return err;
		}

		err = bt_pacs_set_supported_contexts(BT_AUDIO_DIR_SOURCE,
						     AVAILABLE_SOURCE_CONTEXT);
		if (err != 0) {
			printk("Could not set source supported contexts (err %d)\n", err);
			return err;
		}

		err = bt_pacs_set_available_contexts(BT_AUDIO_DIR_SOURCE,
						     AVAILABLE_SOURCE_CONTEXT);
		if (err != 0) {
			printk("Could not set source available contexts (err %d)\n", err);
			return err;
		}
	}

	for (size_t i = 0U; i < ARRAY_SIZE(streams); i++) {
		bt_bap_stream_cb_register(&streams[i], &stream_ops);
	}

	return 0;
}
```

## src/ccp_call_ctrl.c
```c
/** @file
 *  @brief Bluetooth Call Control Profile (CCP) Call Controller role.
 *
 *  Copyright (c) 2020-2024 Nordic Semiconductor ASA
 *  Copyright (c) 2022 Codecoup
 *  Copyright 2023 NXP
 *
 *  SPDX-License-Identifier: Apache-2.0
 */

#include <stdbool.h>
#include <stdint.h>
#include <string.h>

#include <errno.h>

#include <zephyr/autoconf.h>
#include <zephyr/bluetooth/audio/tbs.h>
#include <zephyr/bluetooth/conn.h>
#include <zephyr/kernel.h>
#include <zephyr/sys/__assert.h>
#include <zephyr/sys/printk.h>
#include <zephyr/sys/util.h>
#include <zephyr/toolchain.h>

#define URI_SEPARATOR ":"
#define CALLER_ID "friend"

static uint8_t new_call_index;
static char remote_uri[CONFIG_BT_TBS_MAX_URI_LENGTH + sizeof((char)'\0')];

static K_SEM_DEFINE(sem_discovery_done, 0U, 1U);

static void discover_cb(struct bt_conn *conn, int err, uint8_t tbs_count, bool gtbs_found)
{
	ARG_UNUSED(tbs_count);

	if (!gtbs_found) {
		printk("CCP: Failed to discover GTBS\n");
		return;
	}

	if (err != 0) {
		printk("Discovery failed: %d\n", err);
		return;
	}

	printk("CCP: Discovered GTBS\n");

	/* Read Bearer URI Schemes Supported List Characteristic */
	err = bt_tbs_client_read_uri_list(conn, BT_TBS_GTBS_INDEX);
	if (err != 0) {
		printk("Failed to initialize read URI list: %d\n", err);
	}
}

static void originate_call_cb(struct bt_conn *conn, int err, uint8_t inst_index, uint8_t call_index)
{
	ARG_UNUSED(conn);

	if (inst_index != BT_TBS_GTBS_INDEX) {
		printk("Unexpected %s for instance %u\n", __func__, inst_index);
		return;
	}

	if (err != 0) {
		printk("Originate call failed: %d\n", err);
		return;
	}

	printk("CCP: Call originate successful\n");
	new_call_index = call_index;
}

static void terminate_call_cb(struct bt_conn *conn, int err,
			      uint8_t inst_index, uint8_t call_index)
{
	ARG_UNUSED(conn);

	if (inst_index != BT_TBS_GTBS_INDEX) {
		printk("Unexpected %s for instance %u\n", __func__, inst_index);
		return;
	}

	if (err != 0) {
		printk("Terminate call failed: %d\n", err);
		return;
	}

	printk("CCP: Call with id %d terminated\n", call_index);
}

static void read_uri_schemes_string_cb(struct bt_conn *conn, int err,
				       uint8_t inst_index, const char *value)
{
	const char *uri_scheme = value;
	const char *uri_schemes_end = value + strlen(value);
	const size_t suffix_len = strlen(URI_SEPARATOR) + strlen(CALLER_ID);
	size_t uri_scheme_len;

	ARG_UNUSED(conn);

	if (inst_index != BT_TBS_GTBS_INDEX) {
		printk("Unexpected %s for instance %u\n", __func__, inst_index);
		return;
	}

	if (err != 0) {
		printk("Read URI schemes failed: %d\n", err);
		return;
	}

	/* Save first remote URI
	 *
	 * First search for a URI scheme that can fit with the separator and caller ID.
	 * Then compose the URI for later use.
	 */
	while (uri_scheme < uri_schemes_end) {
		uri_scheme_len = 0U;
		while (uri_scheme[uri_scheme_len] != '\0' &&
		       uri_scheme[uri_scheme_len] != ',') {
			uri_scheme_len++;
		}

		if (uri_scheme_len == 0U) {
			uri_scheme++;
			continue;
		}

		if (uri_scheme_len + suffix_len <= CONFIG_BT_TBS_MAX_URI_LENGTH) {
			break;
		}

		uri_scheme += uri_scheme_len + 1U;
	}

	if (uri_scheme >= uri_schemes_end) {
		printk("No URI scheme fits originate URI: %s\n", value);
		return;
	}

	(void)memcpy(remote_uri, uri_scheme, uri_scheme_len);
	remote_uri[uri_scheme_len] = '\0';
	(void)strcat(remote_uri, URI_SEPARATOR);
	(void)strcat(remote_uri, CALLER_ID);

	printk("CCP: Discovered remote URI: %s\n", remote_uri);
	k_sem_give(&sem_discovery_done);
}

struct bt_tbs_client_cb tbs_client_cb = {
	.discover = discover_cb,
	.uri_list = read_uri_schemes_string_cb,
	.originate_call = originate_call_cb,
	.terminate_call = terminate_call_cb,
};

int ccp_call_ctrl_init(struct bt_conn *conn)
{
	int err;

	err = bt_tbs_client_register_cb(&tbs_client_cb);
	if (err != 0 && err != -EEXIST) {
		/* -EEXIST is expected when a later peer reconnects and re-runs init. */
		return err;
	}

	err = bt_tbs_client_discover(conn);
	if (err != 0) {
		return err;
	}
	err = k_sem_take(&sem_discovery_done, K_FOREVER);
	__ASSERT_NO_MSG(err == 0);

	return err;
}

int ccp_originate_call(struct bt_conn *conn)
{
	int err;

	err = bt_tbs_client_originate_call(conn, BT_TBS_GTBS_INDEX, remote_uri);
	if (err != BT_TBS_RESULT_CODE_SUCCESS) {
		printk("TBS originate call failed: %d\n", err);
	}

	return err;
}

int ccp_terminate_call(struct bt_conn *conn)
{
	int err;

	err = bt_tbs_client_terminate_call(conn, BT_TBS_GTBS_INDEX, new_call_index);
	if (err != BT_TBS_RESULT_CODE_SUCCESS) {
		printk("TBS terminate call failed: %d\n", err);
	}

	return err;
}
```

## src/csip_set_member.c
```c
/** @file
 *  @brief Bluetooth Coordinated Set Identifier Profile (CSIP) Set Member role.
 *
 *  Copyright (c) 2022 Codecoup
 *  Copyright 2023 NXP
 *  Copyright (c) 2024 Nordic Semiconductor ASA
 *
 *  SPDX-License-Identifier: Apache-2.0
 */

#include <errno.h>
#include <stdbool.h>
#include <stddef.h>
#include <stdint.h>

#include <zephyr/autoconf.h>
#include <zephyr/bluetooth/audio/cap.h>
#include <zephyr/bluetooth/audio/csip.h>
#include <zephyr/bluetooth/conn.h>
#include <zephyr/kernel.h>
#include <zephyr/sys/printk.h>
#include <zephyr/toolchain.h>

static struct bt_csip_set_member_svc_inst *svc_inst;

static void csip_lock_changed_cb(struct bt_conn *conn,
				 struct bt_csip_set_member_svc_inst *inst,
				 bool locked)
{
	ARG_UNUSED(inst);

	printk("Client %p %s the lock\n", conn, locked ? "locked" : "released");
}

static struct bt_csip_set_member_cb csip_cb = {
	.lock_changed = csip_lock_changed_cb,
};

int csip_set_member_init(void)
{
	struct bt_csip_set_member_register_param param = {
		.set_size = 2,
		.rank = CONFIG_TMAP_PERIPHERAL_SET_RANK,
		.lockable = false,
		.cb = &csip_cb,
	};

	return bt_cap_acceptor_register(&param, &svc_inst);
}

int csip_generate_rsi(uint8_t *rsi)
{
	int err;

	if (svc_inst == NULL) {
		return -ENODEV;
	}

	err = bt_csip_set_member_generate_rsi(svc_inst, rsi);
	if (err != 0) {
		printk("Failed to generate RSI (err %d)\n", err);
		return err;
	}

	return 0;
}
```

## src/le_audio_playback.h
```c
/*
 * SPDX-FileCopyrightText: Copyright The Zephyr Project Contributors
 * SPDX-License-Identifier: Apache-2.0
 */

#ifndef SAMPLE_TMAP_PERIPHERAL_LE_AUDIO_PLAYBACK_H_
#define SAMPLE_TMAP_PERIPHERAL_LE_AUDIO_PLAYBACK_H_

#include <stdbool.h>
#include <stdint.h>

#include <zephyr/bluetooth/audio/audio.h>
#include <zephyr/bluetooth/iso.h>
#include <zephyr/net_buf.h>

struct le_audio_pcm_cfg {
	uint32_t freq_hz;             /* 48000, 32000, 16000 */
	uint32_t frame_duration_us;   /* 7500 or 10000 */
	uint16_t octets_per_frame;    /* per-channel LC3 frame size */
	uint8_t  chan_cnt;            /* 1 or 2 */
	uint8_t  frame_blocks_per_sdu;/* usually 1 */
};

int le_audio_playback_init(void);
int le_audio_playback_stream_start(const struct le_audio_pcm_cfg *cfg);
void le_audio_playback_stream_stop(void);
void le_audio_playback_stream_recv(struct net_buf *buf);

/* Apply a VCS-scale (0..255) output volume to the codec. Cached and re-applied
 * on the next codec (re)configure.
 */
void le_audio_playback_set_volume(uint8_t vcs_volume);
void le_audio_playback_set_mute(bool mute);

#endif /* SAMPLE_TMAP_PERIPHERAL_LE_AUDIO_PLAYBACK_H_ */
```

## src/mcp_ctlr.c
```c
/** @file
 *  @brief Bluetooth Media Control Profile (MCP) Controller role.
 *
 *  Copyright 2023 NXP
 *  Copyright (c) 2024 Nordic Semiconductor ASA
 *
 *  SPDX-License-Identifier: Apache-2.0
 */

#include <errno.h>
#include <stdbool.h>
#include <stddef.h>
#include <stdint.h>

#include <zephyr/bluetooth/audio/mcc.h>
#include <zephyr/bluetooth/audio/media_proxy.h>
#include <zephyr/bluetooth/conn.h>
#include <zephyr/kernel.h>
#include <zephyr/sys/__assert.h>
#include <zephyr/sys/printk.h>
#include <zephyr/toolchain.h>

static K_SEM_DEFINE(sem_discovery_done, 0U, 1U);

static void mcc_discover_mcs_cb(struct bt_conn *conn, int err)
{
	ARG_UNUSED(conn);

	if (err != 0) {
		printk("MCP: Discovery of MCS failed (%d)\n", err);
	} else {
		printk("MCP: Discovered MCS\n");
	}
	k_sem_give(&sem_discovery_done);
}

static void mcc_send_command_cb(struct bt_conn *conn, int err, const struct bt_mcp_cmd *cmd)
{
	ARG_UNUSED(conn);

	if (err != 0) {
		printk("MCP: Command send failed (%d) - opcode: %u, param: %d\n",
			err, cmd->opcode, cmd->param);
	} else {
		printk("MCP: Successfully sent command (%d) - opcode: %u, param: %d\n",
			err, cmd->opcode, cmd->param);
	}
}

static struct bt_mcc_cb mcc_cb = {
	.discover_mcs = mcc_discover_mcs_cb,
	.send_cmd = mcc_send_command_cb,
};

int mcp_ctlr_init(struct bt_conn *conn)
{
	int err;

	err = bt_mcc_init(&mcc_cb);
	if (err != 0) {
		return err;
	}

	err = bt_mcc_discover_mcs(conn, true);
	if (err == 0) {
		err = k_sem_take(&sem_discovery_done, K_FOREVER);
		__ASSERT_NO_MSG(err == 0);
	}
	return err;
}

int mcp_send_cmd(struct bt_conn *conn, uint8_t mcp_opcode)
{
	struct bt_mcp_cmd cmd;
	int err;

	cmd.opcode = mcp_opcode;
	cmd.use_param = false;

	err = bt_mcc_send_cmd(conn, &cmd);
	if (err != 0) {
		printk("MCP: Command failed: %d\n", err);
	}

	return err;
}
```

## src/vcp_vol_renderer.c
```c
/** @file
 *  @brief Bluetooth Volume Control Profile (VCP) Volume Renderer role.
 *
 *  Copyright (c) 2020 Bose Corporation
 *  Copyright (c) 2020-2024 Nordic Semiconductor ASA
 *  Copyright (c) 2022 Codecoup
 *  Copyright 2023 NXP
 *
 *  SPDX-License-Identifier: Apache-2.0
 */

#include <stdint.h>
#include <string.h>

#include <zephyr/bluetooth/audio/vcp.h>
#include <zephyr/bluetooth/conn.h>
#include <zephyr/kernel.h>
#include <zephyr/sys/printk.h>
#include <zephyr/toolchain.h>

#include <audio_playback.h>

static struct bt_vcp_included vcp_included;

static void vcs_state_cb(struct bt_conn *conn, int err, uint8_t volume, uint8_t mute)
{
	ARG_UNUSED(conn);

	if (err != 0) {
		printk("VCS state get failed (%d)\n", err);
		return;
	}

	printk("VCS volume %u, mute %u\n", volume, mute);
	if (IS_ENABLED(CONFIG_SAMPLE_BT_AUDIO_PLAYBACK)) {
		sample_bt_audio_playback_set_volume(volume);
		sample_bt_audio_playback_set_mute(mute != BT_VCP_STATE_UNMUTED);
	}
}

static void vcs_flags_cb(struct bt_conn *conn, int err, uint8_t flags)
{
	ARG_UNUSED(conn);

	if (err != 0) {
		printk("VCS flags get failed (%d)\n", err);
	} else {
		printk("VCS flags 0x%02X\n", flags);
	}
}

static struct bt_vcp_vol_rend_cb vcp_cbs = {
	.state = vcs_state_cb,
	.flags = vcs_flags_cb,
};

int vcp_vol_renderer_init(void)
{
	int err;
	struct bt_vcp_vol_rend_register_param vcp_register_param;

	memset(&vcp_register_param, 0, sizeof(vcp_register_param));

	vcp_register_param.step = 1;
	vcp_register_param.mute = BT_VCP_STATE_UNMUTED;
	vcp_register_param.volume = 100;
	vcp_register_param.cb = &vcp_cbs;

	err = bt_vcp_vol_rend_register(&vcp_register_param);
	if (err != 0) {
		return err;
	}

	err = bt_vcp_vol_rend_included_get(&vcp_included);
	if (err != 0) {
		return err;
	}

	return 0;
}
```
